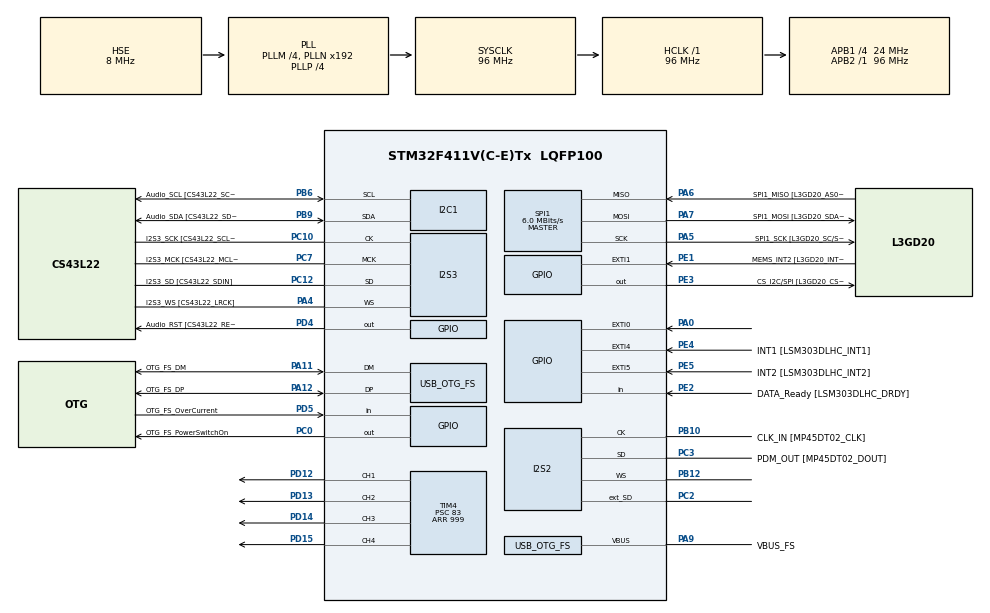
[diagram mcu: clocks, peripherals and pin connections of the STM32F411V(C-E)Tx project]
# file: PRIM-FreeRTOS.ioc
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I2C1.DutyCycle=I2C_DUTYCYCLE_16_9
I2C1.I2C_Mode=I2C_Fast
I2S2.AudioFreq=I2S_AUDIOFREQ_96K
I2S2.ErrorAudioFreq=0.15 %
I2S2.FullDuplexMode=I2S_FULLDUPLEXMODE_ENABLE
I2S2.Instance=SPI$Index
I2S2.RealAudioFreq=96.153 KHz
I2S2.VirtualMode=I2S_MODE_MASTER
I2S3.AudioFreq=I2S_AUDIOFREQ_96K
I2S3.ErrorAudioFreq=-6.99 %
I2S3.FullDuplexMode=I2S_FULLDUPLEXMODE_DISABLE
I2S3.Instance=SPI$Index
I2S3.RealAudioFreq=89.285 KHz
I2S3.VirtualMode=I2S_MODE_MASTER
Mcu.Family=STM32F4
Mcu.Name=STM32F411V(C-E)Tx
Mcu.Package=LQFP100
NVIC.OTG_FS_IRQn=true\:0\:0\:false\:false\:true\:true\:true\:true
NVIC.PriorityGroup=NVIC_PRIORITYGROUP_4
NVIC.TIM5_IRQn=true\:15\:0\:false\:false\:true\:false\:true\:true
NVIC.TimeBase=TIM5_IRQn
NVIC.TimeBaseIP=TIM5
PA0-WKUP.GPIO_ModeDefaultEXTI=GPIO_MODE_EVT_RISING
PA0-WKUP.Signal=GPXTI0
PA10.GPIO_Label=OTG_FS_ID
PA10.Signal=USB_OTG_FS_ID
PA11.GPIO_Label=OTG_FS_DM
PA11.Mode=Device_Only
PA11.Signal=USB_OTG_FS_DM
PA12.GPIO_Label=OTG_FS_DP
PA12.Mode=Device_Only
PA12.Signal=USB_OTG_FS_DP
PA13.GPIO_Label=SWDIO
PA13.Mode=Serial_Wire
PA13.Signal=SYS_JTMS-SWDIO
PA14.GPIO_Label=SWCLK
PA14.Mode=Serial_Wire
PA14.Signal=SYS_JTCK-SWCLK
PA4.GPIO_Label=I2S3_WS [CS43L22_LRCK]
PA4.GPIO_Mode=GPIO_MODE_AF_PP
PA4.GPIO_PuPd=GPIO_NOPULL
PA4.GPIO_Speed=GPIO_SPEED_FREQ_LOW
PA4.Mode=Half_Duplex_Master
PA4.Signal=I2S3_WS
PA5.GPIO_Label=SPI1_SCK [L3GD20_SC/SPC]
PA5.Mode=Full_Duplex_Master
PA5.Signal=SPI1_SCK
PA6.GPIO_Label=SPI1_MISO [L3GD20_AS0/SDO]
PA6.Mode=Full_Duplex_Master
PA6.Signal=SPI1_MISO
PA7.GPIO_Label=SPI1_MOSI [L3GD20_SDA/SDI/SDO]
PA7.Mode=Full_Duplex_Master
PA7.Signal=SPI1_MOSI
PA9.GPIO_Label=VBUS_FS
PA9.Mode=Activate_VBUS
PA9.Signal=USB_OTG_FS_VBUS
PB10.GPIO_Label=CLK_IN [MP45DT02_CLK]
PB10.Mode=Full_Duplex_Master
PB10.Signal=I2S2_CK
PB12.Mode=Full_Duplex_Master
PB12.Signal=I2S2_WS
PB3.GPIO_Label=SWO
PB3.Signal=SYS_JTDO-SWO
PB6.GPIO_Label=Audio_SCL [CS43L22_SCL]
PB6.GPIO_Mode=GPIO_MODE_AF_OD
PB6.GPIO_Pu=GPIO_PULLUP
PB6.GPIO_PuPd=GPIO_NOPULL
PB6.GPIO_Speed=GPIO_SPEED_FREQ_LOW
PB6.Mode=I2C
PB6.Signal=I2C1_SCL
PB9.GPIO_Label=Audio_SDA [CS43L22_SDA]
PB9.GPIO_Mode=GPIO_MODE_AF_OD
PB9.GPIO_Pu=GPIO_PULLUP
PB9.GPIO_PuPd=GPIO_NOPULL
PB9.GPIO_Speed=GPIO_SPEED_FREQ_LOW
PB9.Mode=I2C
PB9.Signal=I2C1_SDA
PC0.GPIO_Label=OTG_FS_PowerSwitchOn
PC0.PinState=GPIO_PIN_SET
PC0.Signal=GPIO_Output
PC10.GPIO_Label=I2S3_SCK [CS43L22_SCLK]
PC10.GPIO_Mode=GPIO_MODE_AF_PP
PC10.GPIO_PuPd=GPIO_NOPULL
PC10.GPIO_Speed=GPIO_SPEED_FREQ_LOW
PC10.Mode=Half_Duplex_Master
PC10.Signal=I2S3_CK
PC12.GPIO_Label=I2S3_SD [CS43L22_SDIN]
PC12.GPIO_Mode=GPIO_MODE_AF_PP
PC12.GPIO_PuPd=GPIO_NOPULL
PC12.GPIO_Speed=GPIO_SPEED_FREQ_LOW
PC12.Mode=Half_Duplex_Master
PC12.Signal=I2S3_SD
PC14-OSC32_IN.GPIO_Label=PC14-OSC32_IN
PC14-OSC32_IN.Mode=LSE-External-Oscillator
PC14-OSC32_IN.Signal=RCC_OSC32_IN
PC15-OSC32_OUT.GPIO_Label=PC15-OSC32_OUT
PC15-OSC32_OUT.Mode=LSE-External-Oscillator
PC15-OSC32_OUT.Signal=RCC_OSC32_OUT
PC2.Mode=Full_Duplex_Master
PC2.Signal=I2S2_ext_SD
PC3.GPIO_Label=PDM_OUT [MP45DT02_DOUT]
PC3.Mode=Full_Duplex_Master
PC3.Signal=I2S2_SD
PC7.GPIO_Label=I2S3_MCK [CS43L22_MCLK]
PC7.GPIO_Mode=GPIO_MODE_AF_PP
PC7.GPIO_PuPd=GPIO_NOPULL
PC7.GPIO_Speed=GPIO_SPEED_FREQ_LOW
PC7.Mode=Master_Clock_Activated
PC7.Signal=I2S3_MCK
PD12.Signal=S_TIM4_CH1
PD13.Signal=S_TIM4_CH2
PD14.Signal=S_TIM4_CH3
PD15.Signal=S_TIM4_CH4
PD4.GPIO_Label=Audio_RST [CS43L22_RESET]
PD4.Signal=GPIO_Output
PD5.GPIO_Label=OTG_FS_OverCurrent
PD5.Signal=GPIO_Input
PE1.GPIO_Label=MEMS_INT2 [L3GD20_INT2]
PE1.GPIO_ModeDefaultEXTI=GPIO_MODE_EVT_RISING
PE1.Signal=GPXTI1
PE2.GPIO_Label=DATA_Ready [LSM303DLHC_DRDY]
PE2.Signal=GPIO_Input
PE3.GPIO_Label=CS_I2C/SPI [L3GD20_CS_I2C/SPI]
PE3.GPIO_Speed=GPIO_SPEED_FREQ_HIGH
PE3.Signal=GPIO_Output
PE4.GPIO_Label=INT1 [LSM303DLHC_INT1]
PE4.GPIO_ModeDefaultEXTI=GPIO_MODE_EVT_RISING
PE4.Signal=GPXTI4
PE5.GPIO_Label=INT2 [LSM303DLHC_INT2]
PE5.GPIO_ModeDefaultEXTI=GPIO_MODE_EVT_RISING
PE5.Signal=GPXTI5
PH0\ -\ OSC_IN.GPIO_Label=PH0-OSC_IN
PH0\ -\ OSC_IN.Mode=HSE-External-Oscillator
PH0\ -\ OSC_IN.Signal=RCC_OSC_IN
PH1\ -\ OSC_OUT.GPIO_Label=PH1-OSC_OUT
PH1\ -\ OSC_OUT.Mode=HSE-External-Oscillator
PH1\ -\ OSC_OUT.Signal=RCC_OSC_OUT
ProjectManager.HeapSize=0x200
ProjectManager.StackSize=0x400
ProjectManager.TargetToolchain=STM32CubeIDE
RCC.48MHZClocksFreq_Value=48000000
RCC.AHBFreq_Value=96000000
RCC.APB1CLKDivider=RCC_HCLK_DIV4
RCC.APB1Freq_Value=24000000
RCC.APB1TimFreq_Value=48000000
RCC.APB2Freq_Value=96000000
RCC.APB2TimFreq_Value=96000000
RCC.CortexFreq_Value=96000000
RCC.HCLKFreq_Value=96000000
RCC.HSE_VALUE=8000000
RCC.HSI_VALUE=16000000
RCC.PLLI2SM=5
RCC.PLLI2SN=200
RCC.PLLM=4
RCC.PLLP=RCC_PLLP_DIV4
RCC.PLLQ=8
RCC.SYSCLKFreq_VALUE=96000000
RCC.SYSCLKSource=RCC_SYSCLKSOURCE_PLLCLK
RCC.VCOOutputFreq_Value=384000000
SH.S_TIM4_CH1.0=TIM4_CH1,PWM Generation1 CH1
SH.S_TIM4_CH2.0=TIM4_CH2,PWM Generation2 CH2
SH.S_TIM4_CH3.0=TIM4_CH3,PWM Generation3 CH3
SH.S_TIM4_CH4.0=TIM4_CH4,PWM Generation4 CH4
SPI1.BaudRatePrescaler=SPI_BAUDRATEPRESCALER_16
SPI1.CLKPhase=SPI_PHASE_2EDGE
SPI1.CLKPolarity=SPI_POLARITY_HIGH
SPI1.CalculateBaudRate=6.0 MBits/s
SPI1.Direction=SPI_DIRECTION_2LINES
SPI1.Mode=SPI_MODE_MASTER
SPI1.VirtualType=VM_MASTER
TIM4.Channel-PWM\ Generation1\ CH1=TIM_CHANNEL_1
TIM4.Channel-PWM\ Generation2\ CH2=TIM_CHANNEL_2
TIM4.Channel-PWM\ Generation3\ CH3=TIM_CHANNEL_3
TIM4.Channel-PWM\ Generation4\ CH4=TIM_CHANNEL_4
TIM4.Period=999
TIM4.Prescaler=83
USB_DEVICE.CLASS_NAME_FS=CDC
USB_DEVICE.PRODUCT_STRING_CDC_FS=PRIM_FreeRTOS
USB_DEVICE.VirtualMode=Cdc
USB_DEVICE.VirtualModeFS=Cdc_FS
USB_OTG_FS.VirtualMode=Device_Only
VP_SYS_VS_tim5.Mode=TIM5
VP_TIM4_VS_ClockSourceINT.Mode=Internal
VP_USB_DEVICE_VS_USB_DEVICE_CDC_FS.Mode=CDC_FS
board=STM32F411E-DISCO

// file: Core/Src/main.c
/* USER CODE BEGIN Header */
/**
  ******************************************************************************
  * @file           : main.c
  * @brief          : Main program body
  ******************************************************************************
  * @attention
  *
  * Copyright (c) 2025 STMicroelectronics.
  * All rights reserved.
  *
  * This software is licensed under terms that can be found in the LICENSE file
  * in the root directory of this software component.
  * If no LICENSE file comes with this software, it is provided AS-IS.
  *
  ******************************************************************************
  */
/* USER CODE END Header */
#include "main.h"
#include "usb_device.h"

/* USER CODE BEGIN Includes */
#include "usbd_cdc_if.h"

#include "FreeRTOS.h"
#include "task.h"

#include "semphr.h"
/* USER CODE END Includes */

/* USER CODE BEGIN PTD */
typedef struct {
	uint8_t gyroStatus;  // 0 = OK, 1 = Sensor Read Error, 2 = Mutex Error
	uint8_t accelStatus; // 0 = OK, 1 = Sensor Read Error, 2 = Mutex Error
	uint8_t sending;
} SystemStatus;

typedef struct {
    int16_t gyroData[3];  // x, y, z axes
    int16_t accelData[3]; // x, y, z axes
} STM_SensorData;

typedef struct {
    uint8_t packetID;    // Identifier for the packet
    uint16_t dataSize;   // Size of the payload (gyroscope + accelerometer data)
    uint32_t timestamp;  // Optional: Timestamp for the data (in ms)
} PacketHeader;

typedef struct {
    PacketHeader header; // Packet header
    STM_SensorData data;     // Sensor data (gyroscope + accelerometer)
} SensorPacket;

typedef struct {
    int8_t dir_status;
    int8_t dir_RoadType;
    uint8_t status;
    uint8_t roadType;
} GPIOControlParams;
/* USER CODE END PTD */

/* USER CODE BEGIN PD */
#define DISPLAY_MODE 0
#define DEBUG_MODE   1
/* USER CODE END PD */

I2C_HandleTypeDef hi2c1;

I2S_HandleTypeDef hi2s2;
I2S_HandleTypeDef hi2s3;

SPI_HandleTypeDef hspi1;

TIM_HandleTypeDef htim4;

/* USER CODE BEGIN PV */
volatile uint8_t currentMode = DISPLAY_MODE; // Start in display mode

STM_SensorData sharedSensorData;
SemaphoreHandle_t dataMutex;
SystemStatus sharedStatus;

TaskHandle_t txHandle = NULL;

/* USER CODE END PV */

void SystemClock_Config(void);
void PeriphCommonClock_Config(void);
static void MX_GPIO_Init(void);
static void MX_I2C1_Init(void);
static void MX_I2S2_Init(void);
static void MX_I2S3_Init(void);
static void MX_SPI1_Init(void);
static void MX_TIM4_Init(void);
/* USER CODE BEGIN PFP */
uint8_t i2c1_pisiRegister(uint8_t, uint8_t, uint8_t);
HAL_StatusTypeDef i2c1_beriRegistre(uint8_t, uint8_t, uint8_t*, uint8_t);
void initOrientation(void);

uint8_t spi1_beriRegister(uint8_t);
HAL_StatusTypeDef spi1_beriRegistre(uint8_t, uint8_t*, uint8_t);
void spi1_pisiRegister(uint8_t, uint8_t);
void initGyro(void);

void initMutex(void);
/* USER CODE END PFP */

/* USER CODE BEGIN 0 */

uint8_t i2c1_pisiRegister(uint8_t naprava, uint8_t reg, uint8_t podatek) {
    naprava <<= 1;
    return HAL_I2C_Mem_Write(&hi2c1, naprava, reg, I2C_MEMADD_SIZE_8BIT, &podatek, 1, 10);
}

HAL_StatusTypeDef i2c1_beriRegistre(uint8_t naprava, uint8_t reg, uint8_t* podatek, uint8_t dolzina) {
    if ((dolzina>1)&&(naprava==0x19))  // ce je naprava 0x19 moramo postaviti ta bit, ce zelimo brati vec zlogov
        reg |= 0x80;
    naprava <<= 1;
    HAL_StatusTypeDef status = HAL_I2C_Mem_Read(&hi2c1, naprava, reg, I2C_MEMADD_SIZE_8BIT, podatek, dolzina, dolzina);

	return status;
}

void initOrientation() { // ne pozabit klicati te funkcije
    // inicializiraj pospeskometer
    i2c1_pisiRegister(0x19, 0x20, 0x27);  // zbudi pospeskometer in omogoci osi
    i2c1_pisiRegister(0x19, 0x23, 0x88);  // nastavi posodobitev samo ko se prebere vrednost ter visoko locljivost
}

uint8_t spi1_beriRegister(uint8_t reg) {
    uint16_t buf_out, buf_in;
    reg |= 0x80; // najpomembnejsi bit na 1
    buf_out = reg; // little endian, se postavi na pravo mesto ....
    HAL_GPIO_WritePin(GPIOE, GPIO_PIN_3, GPIO_PIN_RESET);
    HAL_SPI_TransmitReceive(&hspi1, (uint8_t*)&buf_out, (uint8_t*)&buf_in, 2, 2); // blocking posiljanje ....
    HAL_GPIO_WritePin(GPIOE, GPIO_PIN_3, GPIO_PIN_SET);
    return buf_in >> 8; // little endian...
}

void spi1_pisiRegister(uint8_t reg, uint8_t vrednost) {
    uint16_t buf_out;
    buf_out = reg | (vrednost<<8); // little endian, se postavi na pravo mesto ....
    HAL_GPIO_WritePin(GPIOE, GPIO_PIN_3, GPIO_PIN_RESET);
    HAL_SPI_Transmit(&hspi1, (uint8_t*)&buf_out, 2, 2); // blocking posiljanje ....
    HAL_GPIO_WritePin(GPIOE, GPIO_PIN_3, GPIO_PIN_SET);
}

HAL_StatusTypeDef spi1_beriRegistre(uint8_t reg, uint8_t* buffer, uint8_t velikost) {
    reg |= 0xC0; // najpomembnejsa bita na 1
    HAL_GPIO_WritePin(GPIOE, GPIO_PIN_3, GPIO_PIN_RESET);
    HAL_StatusTypeDef status_SPI_Transmit = HAL_SPI_Transmit(&hspi1, &reg, 1, 10); // blocking posiljanje....
    HAL_StatusTypeDef status_SPI_Receive = HAL_SPI_Receive(&hspi1,  buffer, velikost, velikost); // blocking posiljanje....
    HAL_GPIO_WritePin(GPIOE, GPIO_PIN_3, GPIO_PIN_SET);

    return status_SPI_Transmit != HAL_OK ? HAL_ERROR : status_SPI_Receive != HAL_OK ? HAL_ERROR : HAL_OK;
}

void initGyro() { // ne pozabit klicat te funkcije
    // preverimo ali smo "poklicali" pravi senzor
    uint8_t cip = spi1_beriRegister(0x0F);
    if (cip!=0xD4 && cip!=0xD3) {
        for (;;);
    }
    spi1_pisiRegister(0x20, 0x0F); // zbudi ziroskop in omogoci osi
}

void initMutex(void){
    dataMutex = xSemaphoreCreateMutex();
    if (dataMutex == NULL) {
        Error_Handler(); // Handle error if mutex creation fails
    }
}

void getGyroData(void *pvParameters) {
	while (1) {
		int16_t gyro[3];
		if (spi1_beriRegistre(0x28, (uint8_t *)gyro, 6) == HAL_OK) {
			// Protect shared data with mutex
			if (xSemaphoreTake(dataMutex, pdMS_TO_TICKS(100)) == pdTRUE) {
				memcpy(sharedSensorData.gyroData, gyro, sizeof(gyro));
				xSemaphoreGive(dataMutex);
				sharedStatus.gyroStatus = 0; // Update status to OK
			} else {
				sharedStatus.gyroStatus = 2; // Mutex acquisition error
			}
		} else {
			sharedStatus.gyroStatus = 1; // Sensor read error
			for(uint8_t i = 0; i < 3; i++)
				gyro[i] = 0;
			if (xSemaphoreTake(dataMutex, pdMS_TO_TICKS(100)) == pdTRUE) {
				memcpy(sharedSensorData.gyroData, gyro, sizeof(gyro));
				xSemaphoreGive(dataMutex);
				sharedStatus.gyroStatus = 1; // Update status to OK
			} else {
				sharedStatus.gyroStatus = 2; // Mutex acquisition error
			}
		}
		vTaskDelay(pdMS_TO_TICKS(50)); // Adjust delay as needed
	}
}

void getAccelData(void *pvParameters) {
	while (1) {
		int16_t accel[3];
		if (i2c1_beriRegistre(0x19, 0x28, (uint8_t *)accel, 6) == HAL_OK) {
			// Protect shared data with mutex
			if (xSemaphoreTake(dataMutex, pdMS_TO_TICKS(100)) == pdTRUE) {
				memcpy(sharedSensorData.accelData, accel, sizeof(accel));
				xSemaphoreGive(dataMutex);
				sharedStatus.accelStatus = 0; // Update status to OK
			} else {
				sharedStatus.accelStatus = 2; // Mutex acquisition error
			}
		} else {
			sharedStatus.accelStatus = 1; // Sensor read error
			for(uint8_t i = 0; i < 3; i++)
				accel[i] = 0;
			if (xSemaphoreTake(dataMutex, pdMS_TO_TICKS(100)) == pdTRUE) {
				memcpy(sharedSensorData.accelData, accel, sizeof(accel));
				xSemaphoreGive(dataMutex);
				sharedStatus.accelStatus = 1; // Update status to OK
			} else {
				sharedStatus.accelStatus = 2; // Mutex acquisition error
			}
		}
		vTaskDelay(pdMS_TO_TICKS(50)); // Adjust delay as needed
	}
}

void sendData(void *pvParameters) {
	SensorPacket packet;

	while (1) {
		// Safely copy shared sensor data
		xSemaphoreTake(dataMutex, portMAX_DELAY);
		packet.data = sharedSensorData;
		xSemaphoreGive(dataMutex);

		// Populate the header
		packet.header.packetID = 0xab;
		packet.header.dataSize = sizeof(SensorData);
		packet.header.timestamp = xTaskGetTickCount();

		// Send the complete packet (header + data)
		while (CDC_Transmit_FS((uint8_t *)&packet, sizeof(SensorPacket)));
		sharedStatus.sending = 1;
        xTaskNotifyGive(txHandle);

		vTaskDelay(100 / portTICK_PERIOD_MS); // Adjust delay as needed
	}
}

void update_pwm_brightness(TIM_HandleTypeDef *htim, uint32_t channel, uint8_t brightness_level) {
    uint32_t ccr_value = (brightness_level * (999 + 1)) / 100;

    __HAL_TIM_SET_COMPARE(htim, channel, ccr_value);
}

void checkDir(uint8_t value, int8_t *dir, int8_t max, int8_t min){
	if(value >= max)
		*dir = -1;
	else if(value <= min)
		*dir = 1;
}

void debug_tx(void *pvParameters){
	uint8_t toggle = 0;
	while(1){
		ulTaskNotifyTake(pdTRUE, portMAX_DELAY);
		if(currentMode == DEBUG_MODE){
			update_pwm_brightness(&htim4, TIM_CHANNEL_4, toggle ? 100 : 0);
			toggle = !toggle;
		}
	}
}

void GPIO_control(void *pvParameters){
	GPIOControlParams *params = (GPIOControlParams *)pvParameters;

	int8_t dir_status = params->dir_status;
	int8_t dir_RoadType = params->dir_RoadType;
	uint8_t status = params->status;
	uint8_t roadType = params->roadType;
    uint8_t toggle = 0;

	while(1){
		if (currentMode == DISPLAY_MODE) {
			if(isDefined){
				// Update LED for danger status
				update_pwm_brightness(&htim4, TIM_CHANNEL_3, recivedData.danger ? 100 : 0);

				// Update LED for status
				update_pwm_brightness(&htim4, TIM_CHANNEL_2, (uint8_t)status);

				// Update LEDs for road type based on the first character
				if (recivedData.roadType[0] == 'A') {
					update_pwm_brightness(&htim4, TIM_CHANNEL_1, 0);
					update_pwm_brightness(&htim4, TIM_CHANNEL_4, (uint8_t)roadType);
				} else {
					update_pwm_brightness(&htim4, TIM_CHANNEL_4, 0);
					update_pwm_brightness(&htim4, TIM_CHANNEL_1, (uint8_t)roadType);
				}

				// Update status and roadType values dynamically
				status += recivedData.danger
							  ? 10 * (recivedData.dangerProximity / 20) * dir_status
							  : 10 * dir_status;
				roadType += 10 * ((100 - recivedData.roadQuality) / 20) * dir_RoadType;

				// Ensure values remain within bounds
				checkDir(status, &dir_status, 100, 0);
				checkDir(roadType, &dir_RoadType, 100, 0);
			}
			else {
				// Fallback behavior: Toggle TIM_CHANNEL_3
				toggle = !toggle;
				update_pwm_brightness(&htim4, TIM_CHANNEL_3, toggle ? 100 : 0);

				update_pwm_brightness(&htim4, TIM_CHANNEL_4, 0);
				update_pwm_brightness(&htim4, TIM_CHANNEL_1, 0);
				update_pwm_brightness(&htim4, TIM_CHANNEL_2, 0);
			}
		}
		else if(currentMode == DEBUG_MODE){
			update_pwm_brightness(&htim4, TIM_CHANNEL_1, (sharedStatus.accelStatus == 0 && sharedStatus.gyroStatus == 0) ? 100 : 0);
			update_pwm_brightness(&htim4, TIM_CHANNEL_2, 0);
			update_pwm_brightness(&htim4, TIM_CHANNEL_3, (sharedStatus.accelStatus != 0 || sharedStatus.gyroStatus != 0) ? 100 : 0);
			sharedStatus.sending = sharedStatus.sending == 1 ? 0 : sharedStatus.sending;
		}
		else{
			toggle = !toggle;
			update_pwm_brightness(&htim4, TIM_CHANNEL_2, toggle ? 100 : 0);
			update_pwm_brightness(&htim4, TIM_CHANNEL_4, 0);
			update_pwm_brightness(&htim4, TIM_CHANNEL_1, 0);
			update_pwm_brightness(&htim4, TIM_CHANNEL_3, 0);
		}
		// Delay for consistent updates
		vTaskDelay(pdMS_TO_TICKS(100));
	}
}

void buttonInterupt(void * pvParameters){
	GPIO_PinState button_prev = HAL_GPIO_ReadPin(GPIOA, GPIO_PIN_0);
	while(1){
		GPIO_PinState button_curr = HAL_GPIO_ReadPin(GPIOA, GPIO_PIN_0);
		if(button_prev != button_curr && button_curr == GPIO_PIN_SET){
			if(currentMode == DISPLAY_MODE)
				currentMode = DEBUG_MODE;
			else
				currentMode = DISPLAY_MODE;
		}
		button_prev = button_curr;
	}
}

/* USER CODE END 0 */

int main(void)
{

  /* MCU Configuration--------------------------------------------------------*/

  /* Reset of all peripherals, Initializes the Flash interface and the Systick. */
  HAL_Init();

  /* Configure the system clock */
  SystemClock_Config();

  /* Configure the peripherals common clocks */
  PeriphCommonClock_Config();

  /* Initialize all configured peripherals */
  MX_GPIO_Init();
  MX_I2C1_Init();
  MX_I2S2_Init();
  MX_I2S3_Init();
  MX_SPI1_Init();
  MX_USB_DEVICE_Init();
  MX_TIM4_Init();
  /* USER CODE BEGIN 2 */
  GPIOControlParams gpioParams = {
      .dir_status = 1,
      .dir_RoadType = 1,
      .status = 0,
      .roadType = 0
  };

  initMutex();

  __HAL_I2C_ENABLE(&hi2c1);
  initOrientation();

  __HAL_SPI_ENABLE(&hspi1);
  HAL_GPIO_WritePin(GPIOE, GPIO_PIN_3, GPIO_PIN_SET); // CS postavimo na 1
  initGyro();

  // zazenemo casovnik
  HAL_TIM_Base_Start(&htim4);

  // zazenemo PWM - neinvertirani izhodi
  HAL_TIM_PWM_Start(&htim4, TIM_CHANNEL_1);
  HAL_TIM_PWM_Start(&htim4, TIM_CHANNEL_2);
  HAL_TIM_PWM_Start(&htim4, TIM_CHANNEL_3);
  HAL_TIM_PWM_Start(&htim4, TIM_CHANNEL_4);

  xTaskCreate(
		getGyroData,       /* Function that implements the task. */
		"getGyroData",          /* Text name for the task. */
		128,      /* Stack size in words, not bytes. */
		NULL,    /* Parameter passed into the task. */
		1,/* Priority at which the task is created. */
		NULL);      /* Used to pass out the created task's handle. */
  xTaskCreate(getAccelData, "getAccelData", 128, NULL, 1, NULL);
  xTaskCreate(sendData, "sendData", 128, NULL, 1, NULL);
  xTaskCreate(GPIO_control, "GPIO_control", 128, (void *)&gpioParams, 2, NULL);
  xTaskCreate(GPIO_control, "debug_tx", 128, NULL, 2, &txHandle);
  xTaskCreate(buttonInterupt, "buttonInterupt", 128, NULL, 1, NULL);

  vTaskStartScheduler();
  /* USER CODE END 2 */

  /* Infinite loop */
  while (1)
  {

  }
}

void SystemClock_Config(void)
{
  RCC_OscInitTypeDef RCC_OscInitStruct = {0};
  RCC_ClkInitTypeDef RCC_ClkInitStruct = {0};

  /** Configure the main internal regulator output voltage
  */
  __HAL_RCC_PWR_CLK_ENABLE();
  __HAL_PWR_VOLTAGESCALING_CONFIG(PWR_REGULATOR_VOLTAGE_SCALE1);

  /** Initializes the RCC Oscillators according to the specified parameters
  * in the RCC_OscInitTypeDef structure.
  */
  RCC_OscInitStruct.OscillatorType = RCC_OSCILLATORTYPE_HSE;
  RCC_OscInitStruct.HSEState = RCC_HSE_ON;
  RCC_OscInitStruct.PLL.PLLState = RCC_PLL_ON;
  RCC_OscInitStruct.PLL.PLLSource = RCC_PLLSOURCE_HSE;
  RCC_OscInitStruct.PLL.PLLM = 4;
  RCC_OscInitStruct.PLL.PLLN = 192;
  RCC_OscInitStruct.PLL.PLLP = RCC_PLLP_DIV4;
  RCC_OscInitStruct.PLL.PLLQ = 8;
  if (HAL_RCC_OscConfig(&RCC_OscInitStruct) != HAL_OK)
  {
    Error_Handler();
  }

  /** Initializes the CPU, AHB and APB buses clocks
  */
  RCC_ClkInitStruct.ClockType = RCC_CLOCKTYPE_HCLK|RCC_CLOCKTYPE_SYSCLK
                              |RCC_CLOCKTYPE_PCLK1|RCC_CLOCKTYPE_PCLK2;
  RCC_ClkInitStruct.SYSCLKSource = RCC_SYSCLKSOURCE_PLLCLK;
  RCC_ClkInitStruct.AHBCLKDivider = RCC_SYSCLK_DIV1;
  RCC_ClkInitStruct.APB1CLKDivider = RCC_HCLK_DIV4;
  RCC_ClkInitStruct.APB2CLKDivider = RCC_HCLK_DIV1;

  if (HAL_RCC_ClockConfig(&RCC_ClkInitStruct, FLASH_LATENCY_3) != HAL_OK)
  {
    Error_Handler();
  }
}

void PeriphCommonClock_Config(void)
{
  RCC_PeriphCLKInitTypeDef PeriphClkInitStruct = {0};

  /** Initializes the peripherals clock
  */
  PeriphClkInitStruct.PeriphClockSelection = RCC_PERIPHCLK_I2S;
  PeriphClkInitStruct.PLLI2S.PLLI2SN = 200;
  PeriphClkInitStruct.PLLI2S.PLLI2SM = 5;
  PeriphClkInitStruct.PLLI2S.PLLI2SR = 2;
  if (HAL_RCCEx_PeriphCLKConfig(&PeriphClkInitStruct) != HAL_OK)
  {
    Error_Handler();
  }
}

static void MX_I2C1_Init(void)
{

  hi2c1.Instance = I2C1;
  hi2c1.Init.ClockSpeed = 400000;
  hi2c1.Init.DutyCycle = I2C_DUTYCYCLE_16_9;
  hi2c1.Init.OwnAddress1 = 0;
  hi2c1.Init.AddressingMode = I2C_ADDRESSINGMODE_7BIT;
  hi2c1.Init.DualAddressMode = I2C_DUALADDRESS_DISABLE;
  hi2c1.Init.OwnAddress2 = 0;
  hi2c1.Init.GeneralCallMode = I2C_GENERALCALL_DISABLE;
  hi2c1.Init.NoStretchMode = I2C_NOSTRETCH_DISABLE;
  if (HAL_I2C_Init(&hi2c1) != HAL_OK)
  {
    Error_Handler();
  }

}

static void MX_I2S2_Init(void)
{

  hi2s2.Instance = SPI2;
  hi2s2.Init.Mode = I2S_MODE_MASTER_TX;
  hi2s2.Init.Standard = I2S_STANDARD_PHILIPS;
  hi2s2.Init.DataFormat = I2S_DATAFORMAT_16B;
  hi2s2.Init.MCLKOutput = I2S_MCLKOUTPUT_DISABLE;
  hi2s2.Init.AudioFreq = I2S_AUDIOFREQ_96K;
  hi2s2.Init.CPOL = I2S_CPOL_LOW;
  hi2s2.Init.ClockSource = I2S_CLOCK_PLL;
  hi2s2.Init.FullDuplexMode = I2S_FULLDUPLEXMODE_ENABLE;
  if (HAL_I2S_Init(&hi2s2) != HAL_OK)
  {
    Error_Handler();
  }

}

static void MX_I2S3_Init(void)
{

  hi2s3.Instance = SPI3;
  hi2s3.Init.Mode = I2S_MODE_MASTER_TX;
  hi2s3.Init.Standard = I2S_STANDARD_PHILIPS;
  hi2s3.Init.DataFormat = I2S_DATAFORMAT_16B;
  hi2s3.Init.MCLKOutput = I2S_MCLKOUTPUT_ENABLE;
  hi2s3.Init.AudioFreq = I2S_AUDIOFREQ_96K;
  hi2s3.Init.CPOL = I2S_CPOL_LOW;
  hi2s3.Init.ClockSource = I2S_CLOCK_PLL;
  hi2s3.Init.FullDuplexMode = I2S_FULLDUPLEXMODE_DISABLE;
  if (HAL_I2S_Init(&hi2s3) != HAL_OK)
  {
    Error_Handler();
  }

}

static void MX_SPI1_Init(void)
{

  /* SPI1 parameter configuration*/
  hspi1.Instance = SPI1;
  hspi1.Init.Mode = SPI_MODE_MASTER;
  hspi1.Init.Direction = SPI_DIRECTION_2LINES;
  hspi1.Init.DataSize = SPI_DATASIZE_8BIT;
  hspi1.Init.CLKPolarity = SPI_POLARITY_HIGH;
  hspi1.Init.CLKPhase = SPI_PHASE_2EDGE;
  hspi1.Init.NSS = SPI_NSS_SOFT;
  hspi1.Init.BaudRatePrescaler = SPI_BAUDRATEPRESCALER_16;
  hspi1.Init.FirstBit = SPI_FIRSTBIT_MSB;
  hspi1.Init.TIMode = SPI_TIMODE_DISABLE;
  hspi1.Init.CRCCalculation = SPI_CRCCALCULATION_DISABLE;
  hspi1.Init.CRCPolynomial = 10;
  if (HAL_SPI_Init(&hspi1) != HAL_OK)
  {
    Error_Handler();
  }

}

static void MX_TIM4_Init(void)
{

  TIM_ClockConfigTypeDef sClockSourceConfig = {0};
  TIM_MasterConfigTypeDef sMasterConfig = {0};
  TIM_OC_InitTypeDef sConfigOC = {0};

  htim4.Instance = TIM4;
  htim4.Init.Prescaler = 83;
  htim4.Init.CounterMode = TIM_COUNTERMODE_UP;
  htim4.Init.Period = 999;
  htim4.Init.ClockDivision = TIM_CLOCKDIVISION_DIV1;
  htim4.Init.AutoReloadPreload = TIM_AUTORELOAD_PRELOAD_DISABLE;
  if (HAL_TIM_Base_Init(&htim4) != HAL_OK)
  {
    Error_Handler();
  }
  sClockSourceConfig.ClockSource = TIM_CLOCKSOURCE_INTERNAL;
  if (HAL_TIM_ConfigClockSource(&htim4, &sClockSourceConfig) != HAL_OK)
  {
    Error_Handler();
  }
  if (HAL_TIM_PWM_Init(&htim4) != HAL_OK)
  {
    Error_Handler();
  }
  sMasterConfig.MasterOutputTrigger = TIM_TRGO_RESET;
  sMasterConfig.MasterSlaveMode = TIM_MASTERSLAVEMODE_DISABLE;
  if (HAL_TIMEx_MasterConfigSynchronization(&htim4, &sMasterConfig) != HAL_OK)
  {
    Error_Handler();
  }
  sConfigOC.OCMode = TIM_OCMODE_PWM1;
  sConfigOC.Pulse = 0;
  sConfigOC.OCPolarity = TIM_OCPOLARITY_HIGH;
  sConfigOC.OCFastMode = TIM_OCFAST_DISABLE;
  if (HAL_TIM_PWM_ConfigChannel(&htim4, &sConfigOC, TIM_CHANNEL_1) != HAL_OK)
  {
    Error_Handler();
  }
  if (HAL_TIM_PWM_ConfigChannel(&htim4, &sConfigOC, TIM_CHANNEL_2) != HAL_OK)
  {
    Error_Handler();
  }
  if (HAL_TIM_PWM_ConfigChannel(&htim4, &sConfigOC, TIM_CHANNEL_3) != HAL_OK)
  {
    Error_Handler();
  }
  if (HAL_TIM_PWM_ConfigChannel(&htim4, &sConfigOC, TIM_CHANNEL_4) != HAL_OK)
  {
    Error_Handler();
  }
  HAL_TIM_MspPostInit(&htim4);

}

static void MX_GPIO_Init(void)
{
  GPIO_InitTypeDef GPIO_InitStruct = {0};

  /* GPIO Ports Clock Enable */
  __HAL_RCC_GPIOE_CLK_ENABLE();
  __HAL_RCC_GPIOC_CLK_ENABLE();
  __HAL_RCC_GPIOH_CLK_ENABLE();
  __HAL_RCC_GPIOA_CLK_ENABLE();
  __HAL_RCC_GPIOB_CLK_ENABLE();
  __HAL_RCC_GPIOD_CLK_ENABLE();

  /*Configure GPIO pin Output Level */
  HAL_GPIO_WritePin(CS_I2C_SPI_GPIO_Port, CS_I2C_SPI_Pin, GPIO_PIN_RESET);

  /*Configure GPIO pin Output Level */
  HAL_GPIO_WritePin(OTG_FS_PowerSwitchOn_GPIO_Port, OTG_FS_PowerSwitchOn_Pin, GPIO_PIN_SET);

  /*Configure GPIO pin Output Level */
  HAL_GPIO_WritePin(Audio_RST_GPIO_Port, Audio_RST_Pin, GPIO_PIN_RESET);

  /*Configure GPIO pin : DATA_Ready_Pin */
  GPIO_InitStruct.Pin = DATA_Ready_Pin;
  GPIO_InitStruct.Mode = GPIO_MODE_INPUT;
  GPIO_InitStruct.Pull = GPIO_NOPULL;
  HAL_GPIO_Init(DATA_Ready_GPIO_Port, &GPIO_InitStruct);

  /*Configure GPIO pin : CS_I2C_SPI_Pin */
  GPIO_InitStruct.Pin = CS_I2C_SPI_Pin;
  GPIO_InitStruct.Mode = GPIO_MODE_OUTPUT_PP;
  GPIO_InitStruct.Pull = GPIO_NOPULL;
  GPIO_InitStruct.Speed = GPIO_SPEED_FREQ_HIGH;
  HAL_GPIO_Init(CS_I2C_SPI_GPIO_Port, &GPIO_InitStruct);

  /*Configure GPIO pins : INT1_Pin INT2_Pin MEMS_INT2_Pin */
  GPIO_InitStruct.Pin = INT1_Pin|INT2_Pin|MEMS_INT2_Pin;
  GPIO_InitStruct.Mode = GPIO_MODE_EVT_RISING;
  GPIO_InitStruct.Pull = GPIO_NOPULL;
  HAL_GPIO_Init(GPIOE, &GPIO_InitStruct);

  /*Configure GPIO pin : OTG_FS_PowerSwitchOn_Pin */
  GPIO_InitStruct.Pin = OTG_FS_PowerSwitchOn_Pin;
  GPIO_InitStruct.Mode = GPIO_MODE_OUTPUT_PP;
  GPIO_InitStruct.Pull = GPIO_NOPULL;
  GPIO_InitStruct.Speed = GPIO_SPEED_FREQ_LOW;
  HAL_GPIO_Init(OTG_FS_PowerSwitchOn_GPIO_Port, &GPIO_InitStruct);

  /*Configure GPIO pin : PA0 */
  GPIO_InitStruct.Pin = GPIO_PIN_0;
  GPIO_InitStruct.Mode = GPIO_MODE_EVT_RISING;
  GPIO_InitStruct.Pull = GPIO_NOPULL;
  HAL_GPIO_Init(GPIOA, &GPIO_InitStruct);

  /*Configure GPIO pin : Audio_RST_Pin */
  GPIO_InitStruct.Pin = Audio_RST_Pin;
  GPIO_InitStruct.Mode = GPIO_MODE_OUTPUT_PP;
  GPIO_InitStruct.Pull = GPIO_NOPULL;
  GPIO_InitStruct.Speed = GPIO_SPEED_FREQ_LOW;
  HAL_GPIO_Init(Audio_RST_GPIO_Port, &GPIO_InitStruct);

  /*Configure GPIO pin : OTG_FS_OverCurrent_Pin */
  GPIO_InitStruct.Pin = OTG_FS_OverCurrent_Pin;
  GPIO_InitStruct.Mode = GPIO_MODE_INPUT;
  GPIO_InitStruct.Pull = GPIO_NOPULL;
  HAL_GPIO_Init(OTG_FS_OverCurrent_GPIO_Port, &GPIO_InitStruct);

}

void HAL_TIM_PeriodElapsedCallback(TIM_HandleTypeDef *htim)
{
  if (htim->Instance == TIM5) {
    HAL_IncTick();
  }
}

void Error_Handler(void)
{
  __disable_irq();
  while (1)
  {
  }
}
